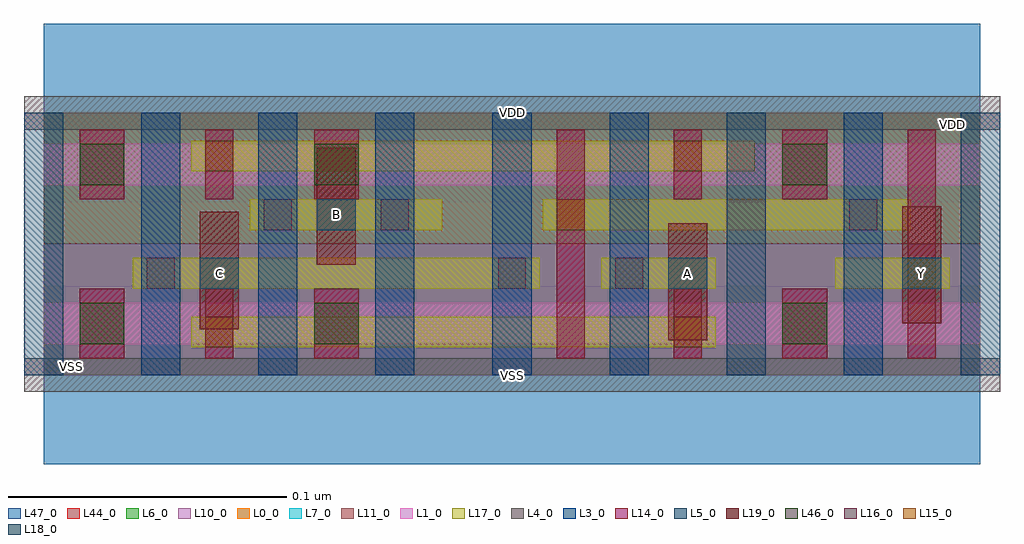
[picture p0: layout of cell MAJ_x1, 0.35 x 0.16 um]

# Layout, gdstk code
import gdstk
lib = gdstk.Library(unit=1e-6, precision=5e-10)
def R(c, l, rs):  # rectangles x0, y0, x1, y1
    for r in rs: c.add(gdstk.rectangle(r[:2], r[2:], *l))
def A(c, l, x, y, w, h, nx, ny, dx, dy):  # array of equal rectangles
    R(c, l, [(x+i*dx, y+j*dy, x+i*dx+w, y+j*dy+h) for i in range(nx) for j in range(ny)])
L0_0 = (0, 0)
L1_0 = (1, 0)
L3_0 = (3, 0)
L4_0 = (4, 0)
L5_0 = (5, 0)
L6_0 = (6, 0)
L7_0 = (7, 0)
L10_0 = (10, 0)
L11_0 = (11, 0)
L14_0 = (14, 0)
L15_0 = (15, 0)
L16_0 = (16, 0)
L17_0 = (17, 0)
L18_0 = (18, 0)
L19_0 = (19, 0)
L44_0 = (44, 0)
L46_0 = (46, 0)
L47_0 = (47, 0)

maj_x1 = lib.new_cell('MAJ_x1')
R(maj_x1, L0_0, [(0,0.047,0.336,0.094)])
R(maj_x1, L1_0, [(0,0.011,0.336,0.026), (0,0.068,0.336,0.083)])
A(maj_x1, L3_0, 0.035, 0, 0.014, 0.094, 5, 1, 0.042, 0)
R(maj_x1, L3_0, [(0.287,0,0.301,0.094)])
R(maj_x1, L4_0, [(-0.007,-0.006,0.343,0.006), (-0.007,0.088,0.343,0.1)])
R(maj_x1, L5_0, [(-0.007,0,0.007,0.094), (0.245,0,0.259,0.094), (0.329,0,0.343,0.094)])
R(maj_x1, L6_0, [(0,0,0.336,0.047)])
R(maj_x1, L7_0, [(0,0.047,0.336,0.094)])
R(maj_x1, L10_0, [(0,0,0.336,0.047)])
R(maj_x1, L11_0, [(0,0.047,0.336,0.094)])
R(maj_x1, L14_0, [(0.013,0.006,0.029,0.031), (0.058,0.006,0.068,0.031), (0.097,0.006,0.113,0.031), (0.184,0.006,0.194,0.088), (0.226,0.006,0.236,0.031), (0.265,0.006,0.281,0.031), (0.31,0.006,0.32,0.088), (0.013,0.063,0.029,0.088), (0.058,0.063,0.068,0.088), (0.097,0.063,0.113,0.088), (0.226,0.063,0.236,0.088), (0.265,0.063,0.281,0.088)])
R(maj_x1, L15_0, [(0.058,0.01,0.068,0.021), (0.226,0.01,0.236,0.021), (0.31,0.031,0.32,0.042), (0.184,0.052,0.194,0.063), (0.058,0.073,0.068,0.084), (0.226,0.073,0.236,0.084)])
R(maj_x1, L16_0, [(0.037,0.031,0.047,0.042), (0.163,0.031,0.173,0.042), (0.205,0.031,0.215,0.042), (0.079,0.052,0.089,0.063), (0.121,0.052,0.131,0.063), (0.289,0.052,0.299,0.063)])
R(maj_x1, L17_0, [(0.053,0.01,0.241,0.021), (0.032,0.031,0.178,0.042), (0.2,0.031,0.241,0.042), (0.284,0.031,0.325,0.042), (0.074,0.052,0.143,0.063), (0.179,0.052,0.311,0.063), (0.053,0.073,0.255,0.084)])
R(maj_x1, L18_0, [(0.056,0.031,0.07,0.042), (0.224,0.031,0.238,0.042), (0.308,0.031,0.322,0.042), (0.098,0.052,0.112,0.063)])
R(maj_x1, L19_0, [(0.224,0.0125,0.238,0.0545), (0.056,0.0165,0.07,0.0585), (0.308,0.0185,0.322,0.0605), (0.098,0.0395,0.112,0.0815)])
R(maj_x1, L44_0, [(0,0,0.336,0.094)])
R(maj_x1, L46_0, [(0.013,0.011,0.029,0.026), (0.097,0.011,0.113,0.026), (0.265,0.011,0.281,0.026), (0.013,0.068,0.029,0.083), (0.097,0.068,0.113,0.083), (0.265,0.068,0.281,0.083)])
R(maj_x1, L47_0, [(0,-0.032,0.336,0.032), (0,0.062,0.336,0.126)])
maj_x1.add(gdstk.Label('VSS', (0.168,0), layer=47, texttype=2))
maj_x1.add(gdstk.Label('VDD', (0.168,0.094), layer=47, texttype=2))
maj_x1.add(gdstk.Label('VSS', (0.01,0.003), layer=54, texttype=2))
maj_x1.add(gdstk.Label('A', (0.231,0.0365), layer=19, texttype=2))
maj_x1.add(gdstk.Label('B', (0.105,0.0575), layer=19, texttype=2))
maj_x1.add(gdstk.Label('C', (0.063,0.0365), layer=19, texttype=2))
maj_x1.add(gdstk.Label('Y', (0.315,0.0365), layer=19, texttype=2))
maj_x1.add(gdstk.Label('VDD', (0.326,0.09), layer=0, texttype=2))

lib.write_gds('MAJ_x1.gds')
